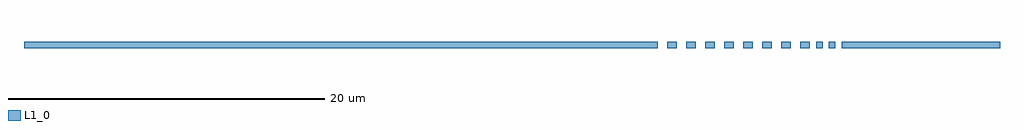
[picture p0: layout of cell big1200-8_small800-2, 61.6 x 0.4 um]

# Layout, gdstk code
import gdstk
lib = gdstk.Library(unit=1e-6, precision=1e-09)
def R(c, l, rs):  # rectangles x0, y0, x1, y1
    for r in rs: c.add(gdstk.rectangle(r[:2], r[2:], *l))
def A(c, l, x, y, w, h, nx, ny, dx, dy):  # array of equal rectangles
    R(c, l, [(x+i*dx, y+j*dy, x+i*dx+w, y+j*dy+h) for i in range(nx) for j in range(ny)])
L1_0 = (1, 0)

big1200_8_small800_2 = lib.new_cell('big1200-8_small800-2')
A(big1200_8_small800_2, L1_0, 0.6, 0, 0.6, 0.4, 8, 1, 1.2, 0)
R(big1200_8_small800_2, L1_0, [(-40,0,0,0.4), (10,0,10.4,0.4), (10.8,0,11.2,0.4), (11.6,0,21.6,0.4)])

lib.write_gds('big1200-8_small800-2.gds')
